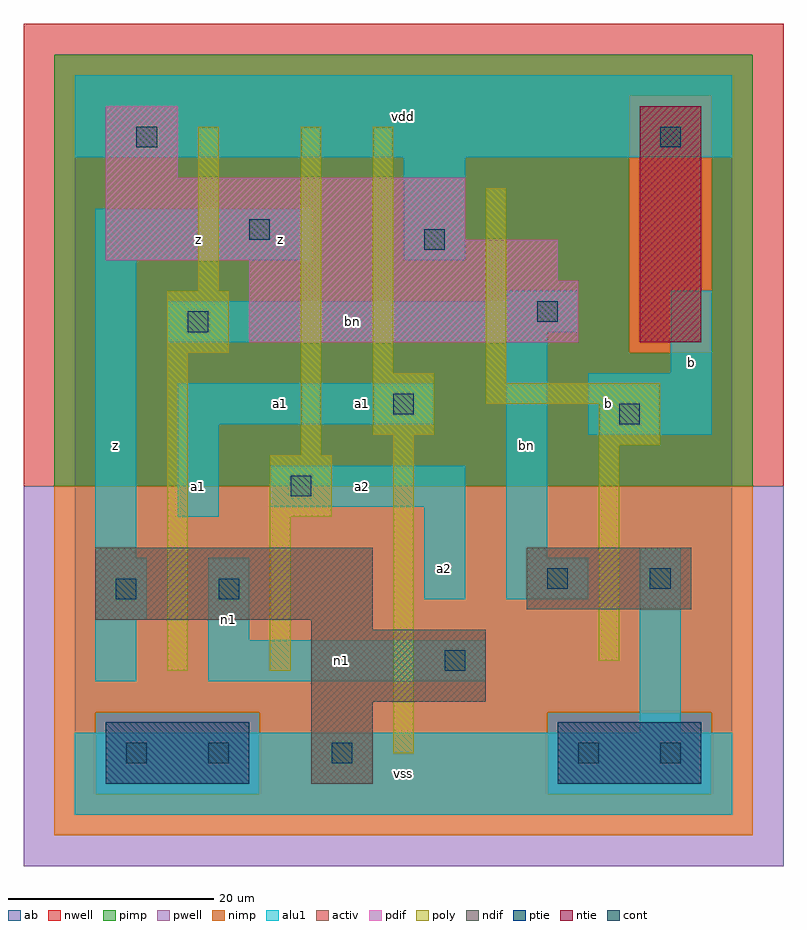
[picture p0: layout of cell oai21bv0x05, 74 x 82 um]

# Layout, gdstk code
import gdstk
lib = gdstk.Library(unit=1e-6, precision=1e-09)
def R(c, l, rs):  # rectangles x0, y0, x1, y1
    for r in rs: c.add(gdstk.rectangle(r[:2], r[2:], *l))
ndif = (3, 0)
pdif = (4, 0)
ntie = (5, 0)
ptie = (6, 0)
cont = (25, 0)
pwell = (41, 0)
nwell = (42, 0)
activ = (43, 0)
pimp = (44, 0)
nimp = (45, 0)
poly = (46, 0)
alu1 = (49, 0)
ab = (63, 0)

oai21bv0x05 = lib.new_cell('oai21bv0x05')
R(oai21bv0x05, ndif, [(23,3,29,11), (23,11,40,18), (23,18,29,19), (2,19,29,26), (44,20,60,26)])
R(oai21bv0x05, pdif, [(17,46,49,52), (17,52,47,54), (3,54,47,56), (3,56,38,62), (3,62,10,69)])
R(oai21bv0x05, ntie, [(55,46,61,69)])
R(oai21bv0x05, ptie, [(3,3,17,9), (47,3,61,9)])
R(oai21bv0x05, cont, [(5,5,7,7), (13,5,15,7), (25,5,27,7), (49,5,51,7), (57,5,59,7), (36,14,38,16), (4,21,6,23), (14,21,16,23), (46,22,48,24), (56,22,58,24), (21,31,23,33), (53,38,55,40), (31,39,33,41), (11,47,13,49), (45,48,47,50), (34,55,36,57), (17,56,19,58), (6,65,8,67), (57,65,59,67)])
R(oai21bv0x05, pwell, [(-5,-5,69,32)])
R(oai21bv0x05, nwell, [(-5,32,69,77)])
R(oai21bv0x05, activ, [(3,3,17,9), (23,3,29,11), (47,3,61,9), (23,11,40,18), (23,18,29,19), (2,19,29,26), (44,20,60,26), (17,46,49,52), (55,46,61,69), (17,52,47,54), (3,54,47,56), (3,56,38,62), (3,62,10,69)])
R(oai21bv0x05, pimp, [(2,2,18,10), (46,2,62,10), (-2,32,66,45), (-2,45,54,70), (62,45,66,70), (-2,70,66,74)])
R(oai21bv0x05, nimp, [(-2,-2,66,2), (-2,2,2,10), (18,2,46,10), (62,2,66,10), (-2,10,66,32), (54,45,62,70)])
R(oai21bv0x05, poly, [(31,6,33,37), (9,14,11,45), (19,14,21,29), (51,15,53,36), (19,29,25,35), (22,35,24,67), (51,36,57,40), (29,37,35,43), (40,40,57,42), (40,42,42,61), (29,43,31,67), (9,45,15,51), (12,51,14,67)])
R(oai21bv0x05, alu1, [(0,0,64,8), (55,8,59,26), (2,13,6,19), (13,13,40,17), (13,17,17,25), (2,19,7,25), (34,21,38,30), (42,21,50,25), (2,25,6,54), (42,25,46,46), (10,29,14,38), (19,30,38,34), (50,37,62,43), (10,38,35,42), (58,43,62,51), (9,46,46,47), (9,47,49,50), (42,50,49,51), (2,54,23,59), (32,54,38,64), (0,64,64,72)])
R(oai21bv0x05, ab, [(0,0,64,72)])
oai21bv0x05.add(gdstk.Label('n1', (15,19), layer=49, texttype=0))
oai21bv0x05.add(gdstk.Label('n1', (26,15), layer=49, texttype=0))
oai21bv0x05.add(gdstk.Label('bn', (44,36), layer=49, texttype=0))
oai21bv0x05.add(gdstk.Label('bn', (27,48), layer=49, texttype=0))
oai21bv0x05.add(gdstk.Label('a1', (12,32), layer=49, texttype=0))
oai21bv0x05.add(gdstk.Label('z', (4,36), layer=49, texttype=0))
oai21bv0x05.add(gdstk.Label('z', (12,56), layer=49, texttype=0))
oai21bv0x05.add(gdstk.Label('a2', (28,32), layer=49, texttype=0))
oai21bv0x05.add(gdstk.Label('a1', (28,40), layer=49, texttype=0))
oai21bv0x05.add(gdstk.Label('a1', (20,40), layer=49, texttype=0))
oai21bv0x05.add(gdstk.Label('z', (20,56), layer=49, texttype=0))
oai21bv0x05.add(gdstk.Label('vss', (32,4), layer=49, texttype=0))
oai21bv0x05.add(gdstk.Label('a2', (36,24), layer=49, texttype=0))
oai21bv0x05.add(gdstk.Label('vdd', (32,68), layer=49, texttype=0))
oai21bv0x05.add(gdstk.Label('b', (52,40), layer=49, texttype=0))
oai21bv0x05.add(gdstk.Label('b', (60,44), layer=49, texttype=0))

lib.write_gds('oai21bv0x05.gds')
